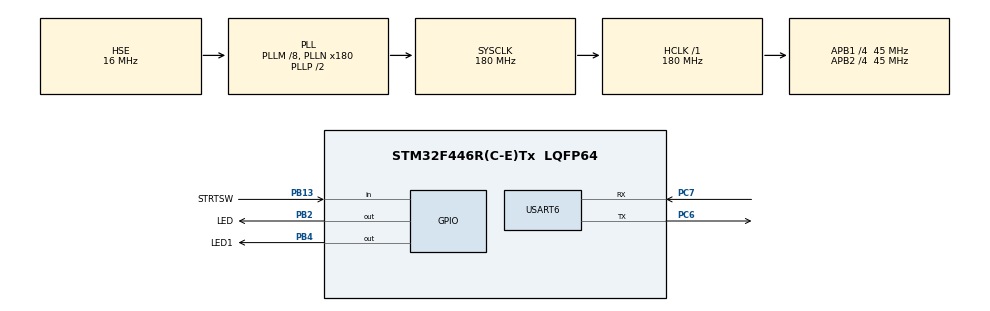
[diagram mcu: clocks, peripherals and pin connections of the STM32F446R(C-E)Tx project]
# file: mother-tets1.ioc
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Mcu.Family=STM32F4
Mcu.Name=STM32F446R(C-E)Tx
Mcu.Package=LQFP64
NVIC.PriorityGroup=NVIC_PRIORITYGROUP_4
NVIC.TIM2_IRQn=true\:0\:0\:false\:false\:true\:true\:true\:true
PB13.GPIO_Label=STRTSW
PB13.Signal=GPIO_Input
PB2.GPIO_Label=LED
PB2.Signal=GPIO_Output
PB4.GPIO_Label=LED1
PB4.Signal=GPIO_Output
PC6.Mode=Asynchronous
PC6.Signal=USART6_TX
PC7.Mode=Asynchronous
PC7.Signal=USART6_RX
PH0-OSC_IN.Mode=HSE-External-Oscillator
PH0-OSC_IN.Signal=RCC_OSC_IN
PH1-OSC_OUT.Mode=HSE-External-Oscillator
PH1-OSC_OUT.Signal=RCC_OSC_OUT
ProjectManager.HeapSize=0x200
ProjectManager.StackSize=0x400
ProjectManager.TargetToolchain=STM32CubeIDE
RCC.AHBFreq_Value=180000000
RCC.APB1CLKDivider=RCC_HCLK_DIV4
RCC.APB1Freq_Value=45000000
RCC.APB1TimFreq_Value=90000000
RCC.APB2CLKDivider=RCC_HCLK_DIV4
RCC.APB2Freq_Value=45000000
RCC.APB2TimFreq_Value=90000000
RCC.CortexFreq_Value=180000000
RCC.HCLKFreq_Value=180000000
RCC.HSE_VALUE=16000000
RCC.PLLM=8
RCC.PLLN=180
RCC.PLLSourceVirtual=RCC_PLLSOURCE_HSE
RCC.SYSCLKFreq_VALUE=180000000
RCC.SYSCLKSource=RCC_SYSCLKSOURCE_PLLCLK
RCC.USBFreq_Value=180000000
RCC.VCOOutputFreq_Value=360000000
TIM2.Period=1000-1
TIM2.Prescaler=90-1
USART6.VirtualMode=VM_ASYNC
VP_TIM2_VS_ClockSourceINT.Mode=Internal
board=custom

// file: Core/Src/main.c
/* USER CODE BEGIN Header */
/**
  ******************************************************************************
  * @file           : main.c
  * @brief          : Main program body
  ******************************************************************************
  * @attention
  *
  * Copyright (c) 2024 STMicroelectronics.
  * All rights reserved.
  *
  * This software is licensed under terms that can be found in the LICENSE file
  * in the root directory of this software component.
  * If no LICENSE file comes with this software, it is provided AS-IS.
  *
  ******************************************************************************
  */
/* USER CODE END Header */
#include "main.h"

/* USER CODE BEGIN Includes */
#include <math.h>
#include <stdio.h>
#include <stdlib.h>
/* USER CODE END Includes */

TIM_HandleTypeDef htim2;

UART_HandleTypeDef huart6;

/* USER CODE BEGIN PV */
uint32_t m_counter;
int16_t MTRS[4]={0, 0, 0, 0};
uint8_t send_array[12] = {250, 0, 50, 251, 0, 50, 252, 0, 50, 253, 0, 50};

int16_t trgt_speed = 0;
int16_t trgt_degree = 0;

uint8_t rxData[3]={};
int16_t position;

uint16_t dtime;
/* USER CODE END PV */

void SystemClock_Config(void);
static void MX_GPIO_Init(void);
static void MX_TIM2_Init(void);
static void MX_USART6_UART_Init(void);
/* USER CODE BEGIN PFP */
void speed_set(int gyro_degree, int goal_speed, int goal_degree, int16_t* mtrspeed, float motor_rate);
void set_array(int16_t* mtrspeed, uint8_t* sendarray);
/* USER CODE END PFP */

/* USER CODE BEGIN 0 */

void HAL_TIM_PeriodElapsedCallback(TIM_HandleTypeDef *htim)
{
    if (htim == &htim2){
        m_counter++;
    }
}
/* USER CODE END 0 */

int main(void)
{

  /* MCU Configuration--------------------------------------------------------*/

  /* Reset of all peripherals, Initializes the Flash interface and the Systick. */
  HAL_Init();

  /* Configure the system clock */
  SystemClock_Config();

  /* Initialize all configured peripherals */
  MX_GPIO_Init();
  MX_TIM2_Init();
  MX_USART6_UART_Init();
  /* USER CODE BEGIN 2 */
  HAL_TIM_Base_Start_IT(&htim2);
  HAL_UART_Transmit(&huart6, send_array, 12, 10);
  /* USER CODE END 2 */

  /* Infinite loop */
  /* USER CODE BEGIN WHILE */
//    uint32_t Ltika_pcounter = m_counter;
    uint32_t set_pcounter = m_counter;
    uint32_t Tx_pcounter = m_counter;
    uint32_t d_pcounter = m_counter;

    uint8_t Odo_ID = 248;

  while (1)
  {
    /* USER CODE END WHILE */

    /* USER CODE BEGIN 3 */
	  dtime = m_counter - d_pcounter;
	  d_pcounter = m_counter;

	  if(m_counter - set_pcounter > 10){
		  set_pcounter = m_counter;
		  trgt_degree = trgt_degree + 1;

		  if(trgt_speed < 30){trgt_speed = trgt_speed + 10;}
		  else{trgt_speed = 500;}

		  if(HAL_GPIO_ReadPin(STRTSW_GPIO_Port, STRTSW_Pin) == 0){
			  trgt_degree = 0;
			  trgt_speed = 0;
		  }
	  }else{}

	  speed_set(27, trgt_speed, trgt_degree, MTRS, 0.7);
	  set_array(MTRS, send_array);

	  if(m_counter - Tx_pcounter > 10){
		  Tx_pcounter = m_counter;
		  if(HAL_GPIO_ReadPin(STRTSW_GPIO_Port, STRTSW_Pin) == 1){
			  HAL_UART_Transmit(&huart6, send_array, 12, 10);
		  }else{
				for(int i=0; i<4; i++){
				  send_array[3*i] = 250 + i;
				  send_array[3*i + 1] = 0;
				  send_array[3*i + 2] = 50;
				}
				HAL_UART_Transmit(&huart6, send_array, 12, 10);
		  }
		  HAL_UART_Transmit(&huart6, &Odo_ID, 1, 10);
		  if(HAL_UART_Receive(&huart6, rxData, 3, 10) == HAL_OK){
			  HAL_GPIO_TogglePin(LED_GPIO_Port, LED_Pin);
		  }

		  position = rxData[1] + rxData[2]*200 - 20000;
	  }else{}

//	  if(m_counter - Ltika_pcounter > 1000){
//	  	HAL_GPIO_TogglePin(LED_GPIO_Port, LED_Pin);
//	  	Ltika_pcounter = m_counter;
//	  }else{}
  }
  /* USER CODE END 3 */
}

void SystemClock_Config(void)
{
  RCC_OscInitTypeDef RCC_OscInitStruct = {0};
  RCC_ClkInitTypeDef RCC_ClkInitStruct = {0};

  /** Configure the main internal regulator output voltage
  */
  __HAL_RCC_PWR_CLK_ENABLE();
  __HAL_PWR_VOLTAGESCALING_CONFIG(PWR_REGULATOR_VOLTAGE_SCALE1);

  /** Initializes the RCC Oscillators according to the specified parameters
  * in the RCC_OscInitTypeDef structure.
  */
  RCC_OscInitStruct.OscillatorType = RCC_OSCILLATORTYPE_HSE;
  RCC_OscInitStruct.HSEState = RCC_HSE_ON;
  RCC_OscInitStruct.PLL.PLLState = RCC_PLL_ON;
  RCC_OscInitStruct.PLL.PLLSource = RCC_PLLSOURCE_HSE;
  RCC_OscInitStruct.PLL.PLLM = 8;
  RCC_OscInitStruct.PLL.PLLN = 180;
  RCC_OscInitStruct.PLL.PLLP = RCC_PLLP_DIV2;
  RCC_OscInitStruct.PLL.PLLQ = 2;
  RCC_OscInitStruct.PLL.PLLR = 2;
  if (HAL_RCC_OscConfig(&RCC_OscInitStruct) != HAL_OK)
  {
    Error_Handler();
  }

  /** Activate the Over-Drive mode
  */
  if (HAL_PWREx_EnableOverDrive() != HAL_OK)
  {
    Error_Handler();
  }

  /** Initializes the CPU, AHB and APB buses clocks
  */
  RCC_ClkInitStruct.ClockType = RCC_CLOCKTYPE_HCLK|RCC_CLOCKTYPE_SYSCLK
                              |RCC_CLOCKTYPE_PCLK1|RCC_CLOCKTYPE_PCLK2;
  RCC_ClkInitStruct.SYSCLKSource = RCC_SYSCLKSOURCE_PLLCLK;
  RCC_ClkInitStruct.AHBCLKDivider = RCC_SYSCLK_DIV1;
  RCC_ClkInitStruct.APB1CLKDivider = RCC_HCLK_DIV4;
  RCC_ClkInitStruct.APB2CLKDivider = RCC_HCLK_DIV4;

  if (HAL_RCC_ClockConfig(&RCC_ClkInitStruct, FLASH_LATENCY_5) != HAL_OK)
  {
    Error_Handler();
  }
}

static void MX_TIM2_Init(void)
{

  TIM_ClockConfigTypeDef sClockSourceConfig = {0};
  TIM_MasterConfigTypeDef sMasterConfig = {0};

  htim2.Instance = TIM2;
  htim2.Init.Prescaler = 90-1;
  htim2.Init.CounterMode = TIM_COUNTERMODE_UP;
  htim2.Init.Period = 1000-1;
  htim2.Init.ClockDivision = TIM_CLOCKDIVISION_DIV1;
  htim2.Init.AutoReloadPreload = TIM_AUTORELOAD_PRELOAD_DISABLE;
  if (HAL_TIM_Base_Init(&htim2) != HAL_OK)
  {
    Error_Handler();
  }
  sClockSourceConfig.ClockSource = TIM_CLOCKSOURCE_INTERNAL;
  if (HAL_TIM_ConfigClockSource(&htim2, &sClockSourceConfig) != HAL_OK)
  {
    Error_Handler();
  }
  sMasterConfig.MasterOutputTrigger = TIM_TRGO_RESET;
  sMasterConfig.MasterSlaveMode = TIM_MASTERSLAVEMODE_DISABLE;
  if (HAL_TIMEx_MasterConfigSynchronization(&htim2, &sMasterConfig) != HAL_OK)
  {
    Error_Handler();
  }

}

static void MX_USART6_UART_Init(void)
{

  huart6.Instance = USART6;
  huart6.Init.BaudRate = 115200;
  huart6.Init.WordLength = UART_WORDLENGTH_8B;
  huart6.Init.StopBits = UART_STOPBITS_1;
  huart6.Init.Parity = UART_PARITY_NONE;
  huart6.Init.Mode = UART_MODE_TX_RX;
  huart6.Init.HwFlowCtl = UART_HWCONTROL_NONE;
  huart6.Init.OverSampling = UART_OVERSAMPLING_16;
  if (HAL_UART_Init(&huart6) != HAL_OK)
  {
    Error_Handler();
  }

}

static void MX_GPIO_Init(void)
{
  GPIO_InitTypeDef GPIO_InitStruct = {0};

  /* GPIO Ports Clock Enable */
  __HAL_RCC_GPIOH_CLK_ENABLE();
  __HAL_RCC_GPIOB_CLK_ENABLE();
  __HAL_RCC_GPIOC_CLK_ENABLE();

  /*Configure GPIO pin Output Level */
  HAL_GPIO_WritePin(GPIOB, LED_Pin|LED1_Pin, GPIO_PIN_RESET);

  /*Configure GPIO pins : LED_Pin LED1_Pin */
  GPIO_InitStruct.Pin = LED_Pin|LED1_Pin;
  GPIO_InitStruct.Mode = GPIO_MODE_OUTPUT_PP;
  GPIO_InitStruct.Pull = GPIO_NOPULL;
  GPIO_InitStruct.Speed = GPIO_SPEED_FREQ_LOW;
  HAL_GPIO_Init(GPIOB, &GPIO_InitStruct);

  /*Configure GPIO pin : STRTSW_Pin */
  GPIO_InitStruct.Pin = STRTSW_Pin;
  GPIO_InitStruct.Mode = GPIO_MODE_INPUT;
  GPIO_InitStruct.Pull = GPIO_NOPULL;
  HAL_GPIO_Init(STRTSW_GPIO_Port, &GPIO_InitStruct);

}

/* USER CODE BEGIN 4 */
void speed_set(int gyro_degree, int goal_speed, int goal_degree, int16_t* mtrspeed, float motor_rate){
	goal_degree = goal_degree % 360;
	if(goal_degree < 0){goal_degree += 360;}

//    int roll_speed;
//	gyro_degree = gyro_degree % 360;
//	if(gyro_degree < 0){gyro_degree += 360;}

    int roll_speed;
    if(gyro_degree > 180){gyro_degree -= 360;}
    else if(gyro_degree <-180){gyro_degree += 360;}
    else{}

    if (gyro_degree > 0){
        roll_speed = -10 + (-gyro_degree * 3);
        if (gyro_degree < 6){
            roll_speed = 0;
        }
        if (roll_speed < -150){
            roll_speed = -150;
        }
    }else if (gyro_degree < 0){
        roll_speed = 10 + (-gyro_degree * 3);
        if (gyro_degree > -6){
            roll_speed = 0;
        }
        if (roll_speed > 150){
            roll_speed = 150;
        }
    }else{
        roll_speed = 0;
    }

	int conv_degree = -goal_degree + 45;
	if(conv_degree < 0){conv_degree = conv_degree + 360;}

	for(int i=0; i<4; i++){
		mtrspeed[i] = goal_speed * sin((conv_degree + 90.0*i) / 180.0 * 3.1415);
		mtrspeed[i] = (mtrspeed[i] * motor_rate) + (roll_speed * (1 - motor_rate));
	}
}

void set_array(int16_t* mtrspeed, uint8_t* sendarray){
	uint16_t conv_mtrspeed[4];
	for(int i=0; i<4; i++){conv_mtrspeed[i] = mtrspeed[i] + 5000;}
	for(int i=0; i<4; i++){
		sendarray[3*i] = 250+i;
		sendarray[3*i+1] = conv_mtrspeed[i] % 100;
		sendarray[3*i+2] = conv_mtrspeed[i] / 100;
	}
}
/* USER CODE END 4 */

void Error_Handler(void)
{
  __disable_irq();
  while (1)
  {
  }
}
